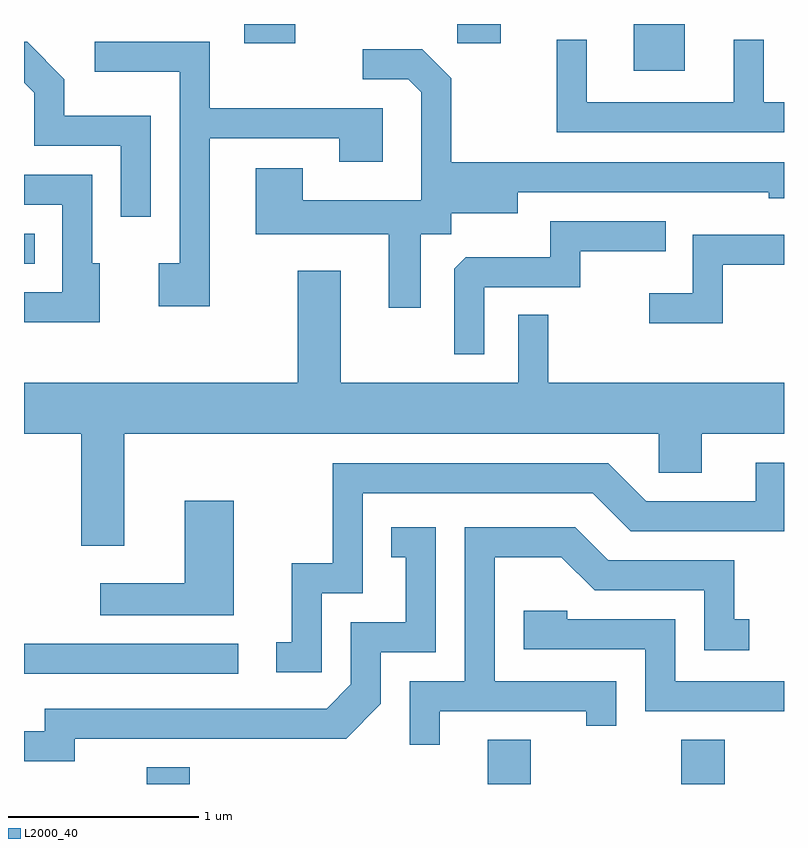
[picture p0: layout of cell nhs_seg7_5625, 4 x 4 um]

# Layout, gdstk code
import gdstk
lib = gdstk.Library(unit=1e-6, precision=1e-09)
def R(c, l, rs):  # rectangles x0, y0, x1, y1
    for r in rs: c.add(gdstk.rectangle(r[:2], r[2:], *l))
def P(c, l, *ps):  # polygons
    for p in ps: c.add(gdstk.Polygon(p, *l))
L2000_40 = (2000, 40)

nhs_seg7_5625 = lib.new_cell('nhs_seg7_5625')
R(nhs_seg7_5625, L2000_40, [(358.256,1710.252,358.484,1710.339), (360.051,1710.252,360.279,1710.484), (361.071,1710.252,361.299,1710.484), (357.611,1710.831,358.738,1710.989), (357.611,1712.991,357.668,1713.149), (360.821,1714.006,361.089,1714.252), (358.771,1714.151,359.039,1714.252), (359.891,1714.151,360.119,1714.252)])
P(nhs_seg7_5625, L2000_40, [(361.611,1713.839),(361.504,1713.839),(361.504,1714.168),(361.346,1714.168),(361.346,1713.839),(360.574,1713.839),(360.574,1714.168),(360.416,1714.168),(360.416,1713.681),(361.611,1713.681)],
  [(358.589,1713.651),(359.271,1713.651),(359.271,1713.526),(359.499,1713.526),(359.499,1713.809),(358.589,1713.809),(358.589,1714.159),(357.983,1714.159),(357.983,1714.001),(358.431,1714.001),(358.431,1712.994),(358.321,1712.994),(358.321,1712.766),(358.589,1712.766)],
  [(358.279,1713.769),(357.824,1713.769),(357.824,1713.962),(357.627,1714.159),(357.611,1714.159),(357.611,1713.944),(357.666,1713.889),(357.666,1713.611),(358.121,1713.611),(358.121,1713.238),(358.279,1713.238)],
  [(359.699,1713.146),(359.859,1713.146),(359.859,1713.256),(360.209,1713.256),(360.209,1713.366),(361.531,1713.366),(361.531,1713.336),(361.611,1713.336),(361.611,1713.524),(359.859,1713.524),(359.859,1713.967),(359.707,1714.119),(359.393,1714.119),(359.393,1713.961),(359.634,1713.961),(359.701,1713.894),(359.701,1713.324),(359.079,1713.324),(359.079,1713.494),(358.831,1713.494),(358.831,1713.146),(359.531,1713.146),(359.531,1712.758),(359.699,1712.758)],
  [(358.009,1712.994),(357.969,1712.994),(357.969,1713.459),(357.611,1713.459),(357.611,1713.301),(357.811,1713.301),(357.811,1712.839),(357.611,1712.839),(357.611,1712.681),(358.009,1712.681)],
  [(360.034,1712.866),(360.539,1712.866),(360.539,1713.056),(360.988,1713.056),(360.988,1713.214),(360.381,1713.214),(360.381,1713.024),(359.937,1713.024),(359.876,1712.964),(359.876,1712.513),(360.034,1712.513)],
  [(361.289,1712.986),(361.611,1712.986),(361.611,1713.144),(361.131,1713.144),(361.131,1712.834),(360.903,1712.834),(360.903,1712.676),(361.289,1712.676)],
  [(358.139,1712.096),(360.951,1712.096),(360.951,1711.891),(361.179,1711.891),(361.179,1712.096),(361.611,1712.096),(361.611,1712.364),(360.369,1712.364),(360.369,1712.723),(360.211,1712.723),(360.211,1712.364),(359.279,1712.364),(359.279,1712.954),(359.051,1712.954),(359.051,1712.364),(357.611,1712.364),(357.611,1712.096),(357.911,1712.096),(357.911,1711.506),(358.139,1711.506)],
  [(359.179,1711.256),(359.394,1711.256),(359.394,1711.781),(360.604,1711.781),(360.804,1711.581),(361.611,1711.581),(361.611,1711.944),(361.461,1711.944),(361.461,1711.739),(360.887,1711.739),(360.687,1711.939),(359.236,1711.939),(359.236,1711.414),(359.021,1711.414),(359.021,1710.999),(358.938,1710.999),(358.938,1710.841),(359.179,1710.841)],
  [(358.714,1711.744),(358.456,1711.744),(358.456,1711.309),(358.013,1711.309),(358.013,1711.141),(358.714,1711.141)],
  [(357.879,1710.491),(359.307,1710.491),(359.489,1710.674),(359.489,1710.946),(359.779,1710.946),(359.779,1711.604),(359.543,1711.604),(359.543,1711.446),(359.621,1711.446),(359.621,1711.104),(359.331,1711.104),(359.331,1710.777),(359.204,1710.649),(357.721,1710.649),(357.721,1710.529),(357.611,1710.529),(357.611,1710.371),(357.879,1710.371)],
  [(359.799,1710.636),(360.571,1710.636),(360.571,1710.558),(360.729,1710.558),(360.729,1710.794),(360.089,1710.794),(360.089,1711.446),(360.439,1711.446),(360.614,1711.271),(361.191,1711.271),(361.191,1710.956),(361.428,1710.956),(361.428,1711.119),(361.349,1711.119),(361.349,1711.429),(360.687,1711.429),(360.512,1711.604),(359.931,1711.604),(359.931,1710.794),(359.641,1710.794),(359.641,1710.458),(359.799,1710.458)],
  [(361.611,1710.794),(361.039,1710.794),(361.039,1711.119),(360.469,1711.119),(360.469,1711.164),(360.241,1711.164),(360.241,1710.961),(360.881,1710.961),(360.881,1710.636),(361.611,1710.636)])

lib.write_gds('nhs_seg7_5625.gds')
